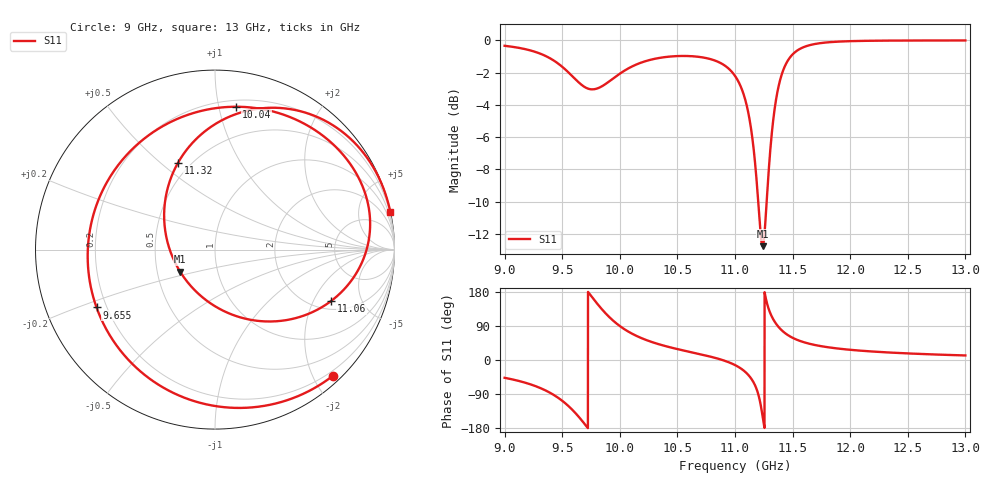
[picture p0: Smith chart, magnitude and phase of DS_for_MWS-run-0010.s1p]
! TOUCHSTONE file generated by CST DESIGN STUDIO
! Date and time: Tue Feb  4 14:07:55 2025
! Project name: C:\Work\MatlabApps\UnitCellOptimizationMatlab\CST\unitcell.cst
! Tree item: Tasks\Sweep1\SPara1\S-Parameters
! Header version: 2024
! Port assignment regex: !\s*Touchstone port\s*([0-9]+)\s*=\s*(CST MWS port|CST DES external port|CST DES block port)\s*(.+)\s* \(\"(.*)\"\)(\s*mode\s*([0-9]+))?.*
! Touchstone port assignment:
! Touchstone port 1 = CST DES external port 1 ("")
# GHz S MA R 50
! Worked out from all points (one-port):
!   4001 points, 9 GHz to 13 GHz, reference 50 ohm
!   lowest |S11| = -12.8 dB at 11.24 GHz (marker M1), VSWR 1.60, Z = 32.9 - j8.56 ohm
!   |S11| at or under -10 dB: 11.2 GHz to 11.27 GHz (73.51 MHz wide, 0.654 % of centre)
!   S11 on the Smith chart (normalised r, x): 9 GHz: 0.12, -2.30; 9.655 GHz: 0.16, -0.23; 10.04 GHz: 0.25, +1.13; 11.06 GHz: 2.42, -2.77; 11.32 GHz: 0.43, +0.57; 13 GHz: 0.02, +9.54
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9  0.9621 -46.9
9.268  0.9207 -68.9
9.4  0.8776 -87.4
9.5  0.8282 -107.6
9.577  0.7812 -128.1
9.655  0.7345 -154.0
9.722  0.7089 -179.5
9.789  0.7068 154.3
9.892  0.7389 118.3
10  0.7883 89.7
10.038  0.8045 81.7
10.241  0.8658 51.4
10.5  0.894 28.8
10.801  0.8718 7.8
11  0.776 -13.3
11.058  0.7074 -23.9
11.112  0.6049 -38.2
11.165  0.4496 -61.2
11.202  0.3142 -90.4
11.239  0.2299 -147.6
11.28  0.3376 147.1
11.322  0.5258 113.1
11.395  0.7612 81.6
11.5  0.9047 58.6
11.686  0.9734 40.1
12  0.9945 26.9
12.5  0.999 17.4
13  0.9995 12.0
